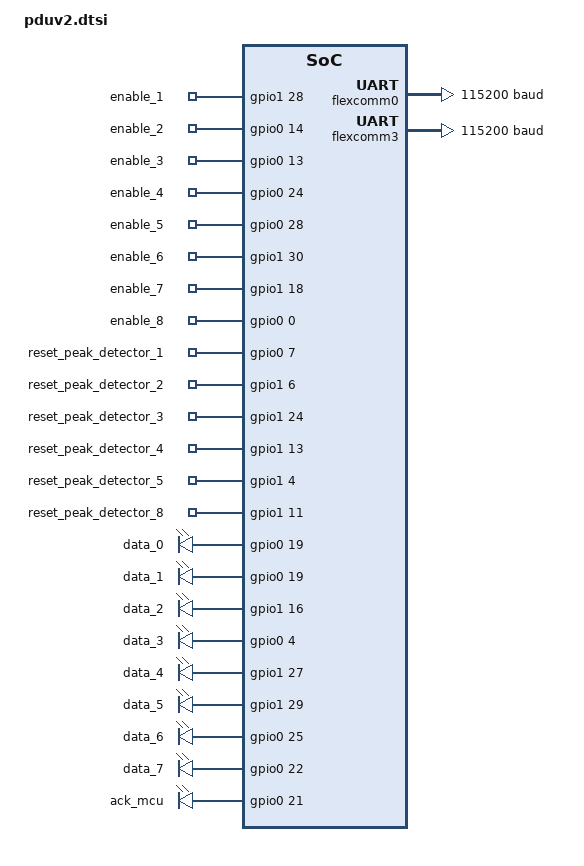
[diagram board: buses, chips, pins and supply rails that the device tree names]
/*
 * Copyright (c) 2019, NXP
 *
 * SPDX-License-Identifier: Apache-2.0
 */

#include "pduv2-pinctrl.dtsi"

/ {
	aliases{
		led0 = &red_led;
		spi-8 = &hs_lspi;
		spi-4 = &flexcomm4;
		usart-0 = &flexcomm0;
		usart-3 = &flexcomm3;
		ssr1 = &enable_1;
		ssr2 = &enable_2;
		ssr3 = &enable_3;
		ssr4 = &enable_4;
		ssr5 = &enable_5;
		ssr6 = &enable_6;
		ssr7 = &enable_7;
		ssr8 = &enable_8;
		rpd1 = &reset_peak_detector_1;
		rpd2 = &reset_peak_detector_2;
		rpd3 = &reset_peak_detector_3;
		rpd4 = &reset_peak_detector_4;
		rpd5 = &reset_peak_detector_5;
		/*
		rpd6 = &reset_peak_detector_6;
		rpd7 = &reset_peak_detector_7;
		*/
		rpd8 = &reset_peak_detector_8;
		devon = &device_on;
		devoff = &device_off;
		devn0 = &device_number_0;
		devn1 = &device_number_1;
		devn2 = &device_number_2;
		data0 = &data_0;
		data1 = &data_1;
		data2 = &data_2;
		data3 = &data_3;
		data4 = &data_4;
		data5 = &data_5;
		data6 = &data_6;
		data7 = &data_7;
		ackmpu = &ack_mpu;
		ackmcu = &ack_mcu;
	};

	leds {
		compatible = "gpio-leds";
		red_led: led_1 {
			gpios = <&gpio0 1 GPIO_ACTIVE_LOW>;
			label = "User LD4";
			status = "disabled";
		};
	};

	ssrs {
		compatible = "gpio-leds";
		enable_1: ssr_1 {
			gpios = <&gpio1 28 GPIO_ACTIVE_HIGH>;
			status = "okay";
		};
		enable_2: ssr_2 {
			gpios = <&gpio0 14 GPIO_ACTIVE_HIGH>;
			status = "okay";
		};
		enable_3: ssr_3 {
			gpios = <&gpio0 13 GPIO_ACTIVE_HIGH>;
			status = "okay";
		};
		enable_4: ssr_4 {
			gpios = <&gpio0 24 GPIO_ACTIVE_HIGH>;
			status = "okay";
		};
		enable_5: ssr_5 {
			gpios = <&gpio0 28 GPIO_ACTIVE_HIGH>;
			status = "okay";
		};
		enable_6: ssr_6 {
			gpios = <&gpio1 30 GPIO_ACTIVE_HIGH>;
			status = "okay";
		};
		enable_7: ssr_7 {
			gpios = <&gpio1 18 GPIO_ACTIVE_HIGH>;
			status = "okay";
		};
		enable_8: ssr_8 {
			gpios = <&gpio0 0 GPIO_ACTIVE_HIGH>;
			status = "okay";
		};
	};

	rpds {
		compatible = "gpio-leds";
		reset_peak_detector_1: rpd_1{
			gpios = <&gpio0 7 GPIO_ACTIVE_HIGH>;
			status = "okay";
		};
		reset_peak_detector_2: rpd_2{
			gpios = <&gpio1 6 GPIO_ACTIVE_HIGH>;
			status = "okay";
		};
		reset_peak_detector_3: rpd_3{
			gpios = <&gpio1 24 GPIO_ACTIVE_HIGH>;
			status = "okay";
		};
		reset_peak_detector_4: rpd_4{
			gpios = <&gpio1 13 GPIO_ACTIVE_HIGH>;
			status = "okay";
		};
		reset_peak_detector_5: rpd_5{
			gpios = <&gpio1 4 GPIO_ACTIVE_HIGH>;
			status = "okay";
		};
		/*
		reset_peak_detector_6: rpd_6{
			gpios = <&gpio GPIO_ACTIVE_HIGH>;
			status = "okay";
		};
		reset_peak_detector_7: rpd_7{
			gpios = <&gpio0 24 GPIO_ACTIVE_HIGH>;
			status = "okay";
		};
		*/
		reset_peak_detector_8: rpd_8{
			gpios = <&gpio1 11 GPIO_ACTIVE_HIGH>;
			status = "okay";
		};
	};

	data_output{
		compatible = "gpio-leds";
		data_0: d_0{
			gpios = <&gpio0 19 GPIO_ACTIVE_HIGH>;
			status = "okay";
		};
		data_1: d_1{
			gpios = <&gpio0 19 GPIO_ACTIVE_HIGH>;
			status = "okay";
		};
		data_2: d_2{
			gpios = <&gpio1 16 GPIO_ACTIVE_HIGH>;
			status = "okay";
		};
		data_3: d_3{
			gpios = <&gpio0 4 GPIO_ACTIVE_HIGH>;
			status = "okay";
		};
		data_4: d_4{
			gpios = <&gpio1 27 GPIO_ACTIVE_HIGH>;
			status = "okay";
		};
		data_5: d_5{
			gpios = <&gpio1 29 GPIO_ACTIVE_HIGH>;
			status = "okay";
		};
		data_6: d_6{
			gpios = <&gpio0 25 GPIO_ACTIVE_HIGH>;
			status = "okay";
		};
		data_7: d_7{
			gpios = <&gpio0 22 GPIO_ACTIVE_HIGH>;
			status = "okay";
		};
		ack_mcu: ack_mcu{
			gpios = <&gpio0 21 GPIO_ACTIVE_HIGH>;
			status = "okay";
		};
	};

	reserved-memory {
		#address-cells = <1>;
		#size-cells = <1>;
		ranges;

		/* RAM split used by TFM */
		secure_ram: partition@20000000 {
			label = "secure-memory";
			reg = <0x20000000 DT_SIZE_K(136)>;
		};

		non_secure_ram: partition@20022000 {
			label = "non-secure-memory";
			reg = <0x20022000 DT_SIZE_K(136)>;
		};
	};
};

&flexcomm0 {
	compatible = "nxp,lpc-usart";
	current-speed = <115200>;
	dmas = <&dma0 6>, <&dma0 7>;
	dma-names = "rx", "tx";
};

&flexcomm3 {
	compatible = "nxp,lpc-usart";
	current-speed = <115200>;
	dmas = <&dma0 8>, <&dma0 9>;
	dma-names = "rx", "tx";
};

&flash0 {

	partitions {
		compatible = "fixed-partitions";
		#address-cells = <1>;
		#size-cells = <1>;

		boot_partition: partition@0 {
			label = "mcuboot";
			reg = <0x00000000 DT_SIZE_K(32)>;
			read-only;
		};
		slot0_partition: partition@8000 {
			label = "image-0";
			reg = <0x00008000 DT_SIZE_K(160)>;
		};
		slot0_ns_partition: partition@30000 {
			label = "image-0-nonsecure";
			reg = <0x00030000 DT_SIZE_K(96)>;
		};
		slot1_partition: partition@48000 {
			label = "image-1";
			reg = <0x00048000 DT_SIZE_K(160)>;
		};
		slot1_ns_partition: partition@70000 {
			label = "image-1-nonsecure";
			reg = <0x00070000 DT_SIZE_K(96)>;
		};
		/*
		 * The flash starting at 0x88000 and ending at
		 * 0x949FF is reserved for the application.
		 */
		storage_partition: partition@88000 {
			label = "storage";
			reg = <0x00088000 DT_SIZE_K(50)>;
		};
	};
};

&flexcomm0 {
	pinctrl-0 = <&pinmux_flexcomm0_usart>;
	pinctrl-names = "default";
};

&flexcomm3 {
	pinctrl-0 = <&pinmux_flexcomm3_usart>;
	pinctrl-names = "default";
};

&flexcomm4{
	pinctrl-0 = <&pinmux_flexcomm4_spi>;
	pinctrl-names = "default";
};

&hs_lspi {
	pinctrl-0 = <&pinmux_hs_lspi_default>;
	pinctrl-names = "default";
};

&sc_timer {
	pinctrl-0 = <&pinmux_sctimer_default>;
	pinctrl-names = "default";
};
